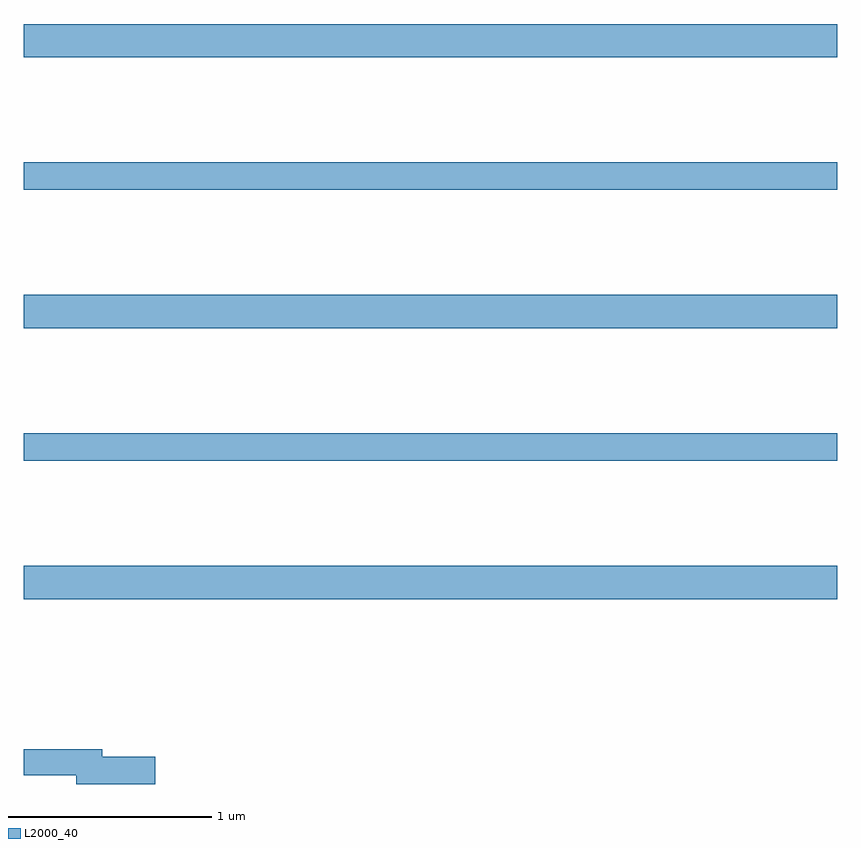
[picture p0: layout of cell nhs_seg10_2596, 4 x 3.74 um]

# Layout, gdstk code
import gdstk
lib = gdstk.Library(unit=1e-6, precision=1e-09)
def R(c, l, rs):  # rectangles x0, y0, x1, y1
    for r in rs: c.add(gdstk.rectangle(r[:2], r[2:], *l))
def A(c, l, x, y, w, h, nx, ny, dx, dy):  # array of equal rectangles
    R(c, l, [(x+i*dx, y+j*dy, x+i*dx+w, y+j*dy+h) for i in range(nx) for j in range(ny)])
def P(c, l, *ps):  # polygons
    for p in ps: c.add(gdstk.Polygon(p, *l))
L2000_40 = (2000, 40)

nhs_seg10_2596 = lib.new_cell('nhs_seg10_2596')
A(nhs_seg10_2596, L2000_40, 251, 1297.652, 4, 0.164, 1, 3, 0, 1.332)
R(nhs_seg10_2596, L2000_40, [(251,1298.332,255,1298.468), (251,1299.664,255,1299.8)])
P(nhs_seg10_2596, L2000_40, [(251.647,1296.878),(251.386,1296.878),(251.386,1296.914),(251,1296.914),(251,1296.786),(251.258,1296.786),(251.258,1296.743),(251.647,1296.743)])

lib.write_gds('nhs_seg10_2596.gds')
